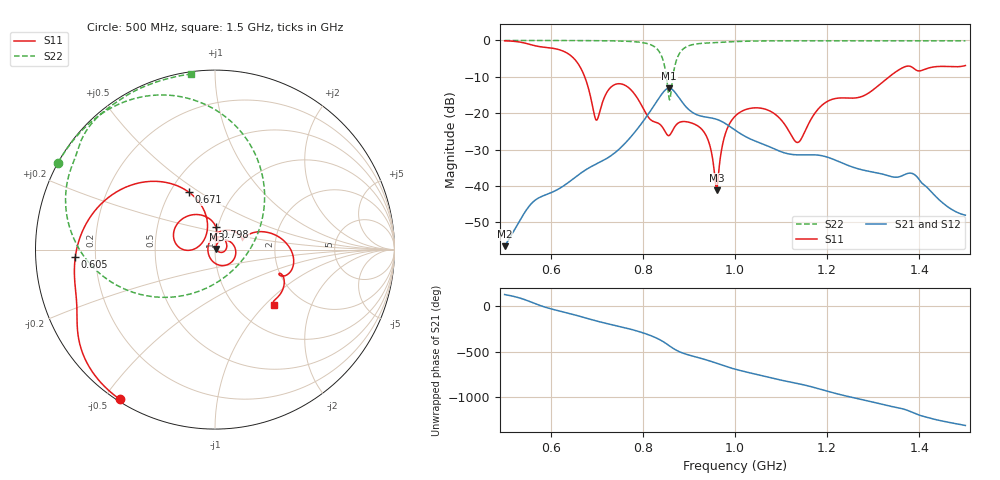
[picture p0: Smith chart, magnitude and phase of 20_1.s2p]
! TOUCHSTONE file generated by CST MICROWAVE STUDIO
! Date and time: Mon Oct 26 12:07:26 2020
! Project name: Scenario_1_Circular_Tissue_out_of_Line_v2.cst
! Parameters = {dy1=-17.3; L_HA=400; MT=2.54; Rad_Dielectric=30; Rad_Lower=7.3; Rad_Upper=30; a_HA=580; a_WG=246; b_HA=500; b_WG=121; c_HA=0; c_WG=187; d_feed=85; dx1=173; h_feed=15; h_lower=18; h_upper=40}
! Header version: 2018
! Port assignment regex: !\s*Touchstone port\s*([0-9]+)\s*=\s*(CST MWS port|CST DS port)\s*([0-9]+|Zmin|Zmax)\s*\(\"(.*)\"\)(\s*mode\s*([0-9]+))?.*
! Touchstone port assignment:
! Touchstone port 1 = CST MWS port 1 ("")
! Touchstone port 2 = CST MWS port 2 ("")
# GHz S DB R 50
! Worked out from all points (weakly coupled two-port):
!   1003 points, 500 MHz to 1.5 GHz, reference 50 ohm
!   highest |S21| = -13.11 dB at 857 MHz (marker M1); lowest = -56.5 dB at 500 MHz (marker M2)
!   lowest |S11| = -41.1 dB at 960 MHz (marker M3), VSWR 1.02, Z = 50.8 + j0.315 ohm
!   |S11| at or under -10 dB: 673.8 MHz to 1.334 GHz (660.5 MHz wide, 65.8 % of centre)
!   |S22| runs from -16.3 to 0.0 dB; largest |S21 - S12| = 2.9e-06
!   S11 on the Smith chart (normalised r, x): 500 MHz: 0.01, -0.55; 605 MHz: 0.12, -0.03; 671 MHz: 0.62, +0.45; 798 MHz: 0.98, +0.25; 1.5 GHz: 1.47, -1.13
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0.5  -0.10 -122.5  -56.53 130.9  -56.53 130.9  -0.01 151.1
0.557  -1.17 -151.5  -44.99 49.2  -44.99 49.2  -0.01 147.2
0.605  -2.17 -177.0  -41.60 -32.6  -41.60 -32.6  -0.02 143.7
0.667  -8.03 118.9  -36.32 -114.2  -36.32 -114.2  -0.04 138.3
0.671  -9.11 114.4  -35.97 -120.0  -35.97 -120.0  -0.04 137.9
0.699  -21.91 143.6  -33.96 -159.8  -33.96 -159.8  -0.07 134.9
0.743  -11.97 154.1  -30.48 147.0  -30.48 147.0  -0.14 128.8
0.798  -18.01 87.9  -22.67 72.8  -22.67 72.8  -0.57 113.9
0.834  -22.78 83.4  -16.04 0.7  -16.04 0.8  -2.80 83.4
0.857  -26.12 84.5  -13.11 -71.7  -13.11 -71.7  -15.97 -26.1
0.868  -23.95 87.1  -13.99 -109.0  -13.99 -109.0  -7.86 -138.9
0.888  -22.28 57.6  -17.40 -156.3  -17.40 -156.3  -2.30 178.4
0.936  -25.83 -12.7  -21.04 133.7  -21.04 133.7  -0.73 151.1
0.96  -41.13 20.6  -21.67 94.0  -21.67 94.0  -0.59 146.2
0.978  -26.07 63.4  -22.75 62.9  -22.75 62.9  -0.47 143.5
1  -20.84 32.0  -24.63 29.2  -24.63 29.2  -0.32 140.5
1.071  -19.13 -47.5  -29.00 -58.9  -29.00 -58.9  -0.13 132.4
1.135  -28.04 -177.4  -31.44 -127.6  -31.44 -127.6  -0.10 126.6
1.167  -21.23 87.2  -31.40 -166.4  -31.40 -166.4  -0.11 124.1
1.334  -10.04 17.4  -37.24 -15.6  -37.24 -15.6  -0.09 111.4
1.387  -7.58 -20.3  -36.68 -91.5  -36.68 -91.5  -0.10 107.3
1.5  -6.90 -42.9  -48.02 128.9  -48.02 128.9  -0.12 97.8
